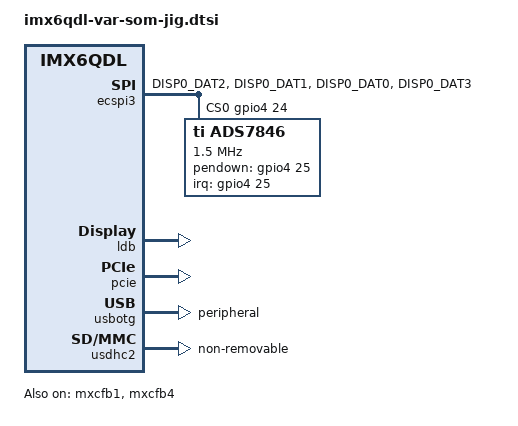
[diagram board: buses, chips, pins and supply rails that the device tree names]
/*
 * Copyright (C) 2016 Variscite, Ltd. All Rights Reserved
 *
 * This program is free software; you can redistribute it and/or modify
 * it under the terms of the GNU General Public License version 2 as
 * published by the Free Software Foundation.
 */

/ {
	sound-hdmi {
		status = "disabled";
	};
};

&can1 {
	status = "disabled";
};

&ecspi3 {
	fsl,spi-num-chipselects = <1>;
	pinctrl-names = "default", "sleep";
	pinctrl-0 = <&pinctrl_ecspi3_1>;
	pinctrl-1 = <&pinctrl_ecspi3_1_sleep>;
	cs-gpios = <&gpio4 24 0>;
	status = "okay";
	
	/* Touch */
	ads7846@0 {
		reg = <0>;	/* CS0 */
		compatible = "ti,ads7846";
		interrupt-parent = <&gpio4>;
		interrupts = <25 0>;
		spi-max-frequency = <1500000>;
		pendown-gpio = <&gpio4 25 0>;
		ti,x-min = /bits/ 16 <125>;
		ti,x-max = /bits/ 16 <4008>;
		ti,y-min = /bits/ 16 <282>;
		ti,y-max = /bits/ 16 <3864>;
		ti,x-plate-ohms = /bits/ 16 <180>;
		ti,pressure-max = /bits/ 16 <255>;
		ti,debounce-max = /bits/ 16 <10>;
		ti,debounce-tol = /bits/ 16 <3>;
		ti,debounce-rep = /bits/ 16 <1>;
		ti,settle-delay-usec = /bits/ 16 <150>;
		ti,keep-vref-on;
	};
};

&hdmi_audio {
	status = "disabled";
};

&hdmi_core  {
	status = "disabled";
};

&hdmi_video {
	status = "disabled";
};

&hdmi_cec {
	status = "disabled";
};

&i2c1 {
	status = "disabled";
};

&i2c3 {
	status = "disabled";
};

&iomuxc {
	pinctrl-0 = <&pinctrl_hog_jig>;

	imx6qdl-var-som-mx6 {

		pinctrl_hog_jig: jiggrp {
			fsl,pins = <
				/* for Bluetooth/wifi enable */
				MX6QDL_PAD_SD3_DAT6__GPIO6_IO18		0x1b0b1
				/* PMIC INT */
				MX6QDL_PAD_GPIO_17__GPIO7_IO12		0x80000000
				/* Wifi Slow Clock */
				MX6QDL_PAD_ENET_RXD0__OSC32K_32K_OUT	0x000b0
				/* Audio Clock */
				MX6QDL_PAD_GPIO_0__CCM_CLKO1		0x130b0
				/* Audio reset */
				MX6QDL_PAD_GPIO_19__GPIO4_IO05		0x178b0
				/* Resistive touch irq */
				MX6QDL_PAD_DISP0_DAT4__GPIO4_IO25	0x178b0


				MX6QDL_PAD_GPIO_1__GPIO1_IO01		0x1b0b1
				MX6QDL_PAD_GPIO_2__GPIO1_IO02		0x1b0b1
				MX6QDL_PAD_GPIO_3__GPIO1_IO03		0x1b0b1
				MX6QDL_PAD_GPIO_4__GPIO1_IO04		0x1b0b1
				MX6QDL_PAD_GPIO_5__GPIO1_IO05		0x1b0b1
				MX6QDL_PAD_GPIO_7__GPIO1_IO07		0x1b0b1
				MX6QDL_PAD_GPIO_8__GPIO1_IO08		0x1b0b1
				MX6QDL_PAD_GPIO_9__GPIO1_IO09		0x1b0b1
				MX6QDL_PAD_ENET_RX_ER__GPIO1_IO24	0x1b0b1
				MX6QDL_PAD_SD4_DAT1__GPIO2_IO09		0x1b0b1
				MX6QDL_PAD_SD4_DAT3__GPIO2_IO11		0x1b0b1
				MX6QDL_PAD_SD4_DAT6__GPIO2_IO14		0x1b0b1
				MX6QDL_PAD_EIM_EB2__GPIO2_IO30		0x1b0b1
				MX6QDL_PAD_EIM_EB3__GPIO2_IO31		0x1b0b1
				MX6QDL_PAD_EIM_DA5__GPIO3_IO05		0x1b0b1
				MX6QDL_PAD_EIM_DA7__GPIO3_IO07		0x1b0b1
				MX6QDL_PAD_EIM_DA13__GPIO3_IO13		0x1b0b1
				MX6QDL_PAD_EIM_D19__GPIO3_IO19		0x1b0b1
				MX6QDL_PAD_EIM_D20__GPIO3_IO20		0x1b0b1
				MX6QDL_PAD_EIM_D21__GPIO3_IO21		0x1b0b1
				MX6QDL_PAD_EIM_D22__GPIO3_IO22		0x1b0b1
				MX6QDL_PAD_EIM_D23__GPIO3_IO23		0x1b0b1
				MX6QDL_PAD_EIM_D24__GPIO3_IO24		0x1b0b1
				MX6QDL_PAD_EIM_D25__GPIO3_IO25		0x1b0b1
				MX6QDL_PAD_EIM_D26__GPIO3_IO26		0x1b0b1
				MX6QDL_PAD_EIM_D27__GPIO3_IO27		0x1b0b1
				MX6QDL_PAD_EIM_D30__GPIO3_IO30		0x1b0b1
				MX6QDL_PAD_KEY_COL0__GPIO4_IO06		0x1b0b1
				MX6QDL_PAD_KEY_ROW0__GPIO4_IO07		0x1b0b1
				MX6QDL_PAD_KEY_COL1__GPIO4_IO08		0x1b0b1
				MX6QDL_PAD_KEY_ROW1__GPIO4_IO09		0x1b0b1
				MX6QDL_PAD_KEY_COL2__GPIO4_IO10		0x1b0b1
				MX6QDL_PAD_KEY_COL4__GPIO4_IO14		0x1b0b1
				MX6QDL_PAD_KEY_ROW4__GPIO4_IO15		0x1b0b1
				MX6QDL_PAD_DISP0_DAT9__GPIO4_IO30	0x1b0b1
				MX6QDL_PAD_DISP0_DAT18__GPIO5_IO12	0x1b0b1
				MX6QDL_PAD_DISP0_DAT19__GPIO5_IO13	0x1b0b1
				MX6QDL_PAD_DISP0_DAT20__GPIO5_IO14	0x1b0b1
				MX6QDL_PAD_DISP0_DAT21__GPIO5_IO15	0x1b0b1
				MX6QDL_PAD_DISP0_DAT22__GPIO5_IO16	0x1b0b1
				MX6QDL_PAD_DISP0_DAT23__GPIO5_IO17	0x1b0b1
				MX6QDL_PAD_CSI0_PIXCLK__GPIO5_IO18	0x1b0b1
				MX6QDL_PAD_CSI0_MCLK__GPIO5_IO19	0x1b0b1
				MX6QDL_PAD_CSI0_DATA_EN__GPIO5_IO20	0x1b0b1
				MX6QDL_PAD_CSI0_VSYNC__GPIO5_IO21	0x1b0b1
				MX6QDL_PAD_CSI0_DAT8__GPIO5_IO26	0x1b0b1
				MX6QDL_PAD_CSI0_DAT9__GPIO5_IO27	0x1b0b1
				MX6QDL_PAD_CSI0_DAT12__GPIO5_IO30	0x1b0b1
				MX6QDL_PAD_CSI0_DAT13__GPIO5_IO31	0x1b0b1
				MX6QDL_PAD_CSI0_DAT14__GPIO6_IO00	0x1b0b1
				MX6QDL_PAD_CSI0_DAT15__GPIO6_IO01	0x1b0b1
				MX6QDL_PAD_CSI0_DAT16__GPIO6_IO02	0x1b0b1
				MX6QDL_PAD_CSI0_DAT17__GPIO6_IO03	0x1b0b1
				MX6QDL_PAD_CSI0_DAT18__GPIO6_IO04	0x1b0b1
				MX6QDL_PAD_CSI0_DAT19__GPIO6_IO05	0x1b0b1
				MX6QDL_PAD_GPIO_16__GPIO7_IO11		0x1b0b1
			>;
		};

		pinctrl_ecspi3_1: ecspi3grp {
			fsl,pins = <
				MX6QDL_PAD_DISP0_DAT2__ECSPI3_MISO	0x100b1
				MX6QDL_PAD_DISP0_DAT1__ECSPI3_MOSI	0x100b1
				MX6QDL_PAD_DISP0_DAT0__ECSPI3_SCLK	0x100b1
				MX6QDL_PAD_DISP0_DAT3__GPIO4_IO24	0x178b0 /* CS */
			>;
		};
	};
};

&ldb {
	status = "okay";
	dual-mode;

	lvds-channel@0 {
		primary;
		crtc = "ipu1-di0";
		fsl,data-mapping = "spwg";
		fsl,data-width = <24>;
		status = "okay";

		display-timings {
			native-mode = <&timingjig0>;
			timingjig0: hsd100pxn1 {
				clock-frequency = <32000000>;
				hactive = <800>;
				vactive = <480>;
				hback-porch = <39>;
				hfront-porch = <39>;
				vback-porch = <29>;
				vfront-porch = <13>;
				hsync-len = <47>;
				vsync-len = <2>;
			};
		};
	};

	lvds-channel@1 {
		fsl,data-mapping = "spwg";
		fsl,data-width = <24>;
		status = "okay";
		crtc = "ipu2-di0";

		display-timings {
			native-mode = <&timingjig1>;
			timingjig1: hsd100pxn2 {
				clock-frequency = <32000000>;
				hactive = <800>;
				vactive = <480>;
				hback-porch = <39>;
				hfront-porch = <39>;
				vback-porch = <29>;
				vfront-porch = <13>;
				hsync-len = <47>;
				vsync-len = <2>;
			};
		};
	};
};

&mxcfb1{
	compatible = "fsl,mxc_sdc_fb";
	disp_dev = "ldb";
	interface_pix_fmt = "RGB24";
	default_bpp = <24>;
	int_clk = <0>;
	late_init = <0>;
	status = "okay";
};

&mxcfb2{
	status = "disabled";
};

&mxcfb3{
	status = "disabled";
};

&mxcfb4{
	compatible = "fsl,mxc_sdc_fb";
	disp_dev = "ldb";
	interface_pix_fmt = "RGB24";
	default_bpp = <24>;
	int_clk = <0>;
	late_init = <0>;
	status = "okay";
};

&pcie {
	reset-gpio    = <>;	/* gpio pin number of power good signal */
	wake-up-gpio  = <>;	/* gpio pin number of incoming wakeup signal */
	disable-gpio  = <>;	/* gpio pin number of outgoing rfkill/endpoint disable signal */
	status = "okay";
};

&pwm2 {
	status = "disabled";
};

&uart3 {
	status = "disabled";
};

&usbotg {
	pinctrl-0 = <>;
	dr_mode = "peripheral" ;
};

&usdhc2 {	/* uSDHC2, MMC/SD card */
	cd-gpios = <>;
	wp-gpios = <>;
	non-removable;
};
